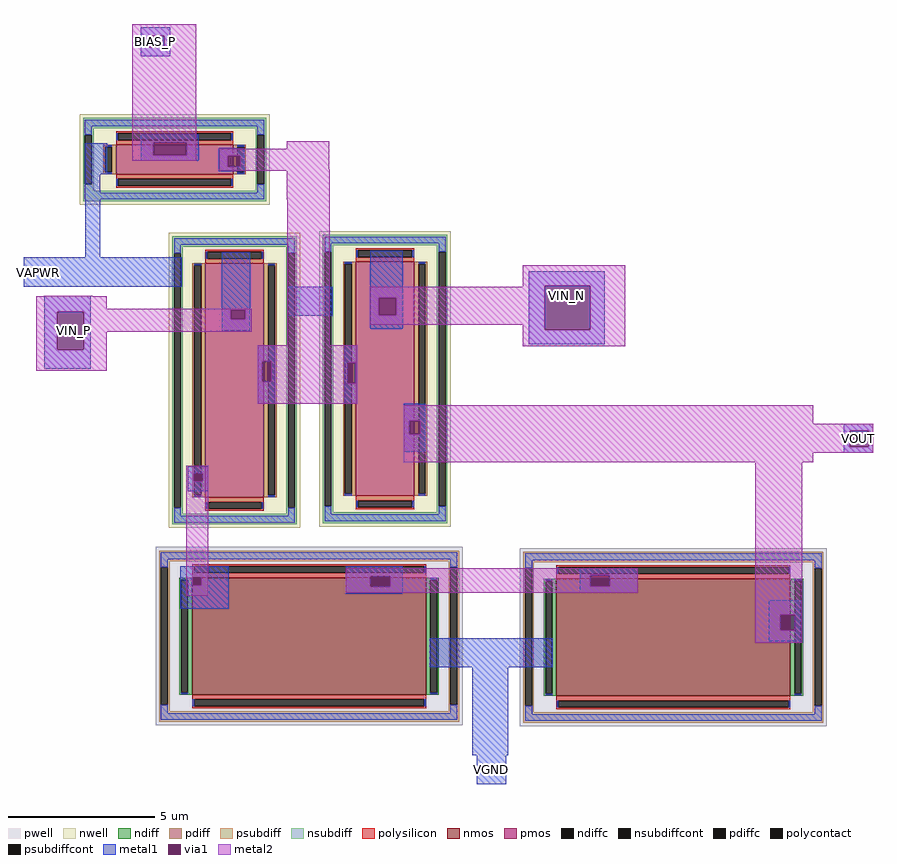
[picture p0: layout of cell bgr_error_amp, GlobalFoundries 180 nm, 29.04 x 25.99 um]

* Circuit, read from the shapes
.subckt bgr_error_amp BIAS_P VAPWR VIN_P VIN_N VOUT VGND
XM1 VGND n1 n1 VGND nfet_03v3 w=4u l=8u
XM2 VOUT n1 VGND VGND nfet_03v3 w=4u l=8u
XM3 n2 BIAS_P VAPWR VAPWR pfet_03v3 w=1u l=4u
XM4 n2 VIN_P n1 VAPWR pfet_03v3 w=8u l=2u
XM5 VOUT VIN_N n2 VAPWR pfet_03v3 w=8u l=2u
.ends

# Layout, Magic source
magic
tech gf180mcuD
magscale 1 10
<< metal1 >>
rect 1799 2517 1999 2575
rect 1799 2438 1854 2517
rect 1961 2438 1999 2517
rect 1799 2375 1999 2438
rect 1798 1789 2194 1844
rect 1420 1570 1570 1780
rect 1798 1699 1884 1789
rect 2113 1699 2194 1789
rect 1798 1662 2194 1699
rect 2333 1696 2505 1747
rect 2333 1622 2392 1696
rect 2478 1622 2505 1696
rect 2333 1589 2505 1622
rect 1420 1000 1520 1570
rect 1000 800 2080 1000
rect 1138 628 1458 738
rect 1138 368 1228 628
rect 1408 368 1458 628
rect 2353 643 2546 1036
rect 2353 579 2413 643
rect 2514 579 2546 643
rect 2800 600 3110 800
rect 3367 723 3592 1047
rect 3367 604 3428 723
rect 3545 604 3592 723
rect 2353 498 2546 579
rect 3367 514 3592 604
rect 4453 807 4973 907
rect 4453 507 4563 807
rect 4873 507 4973 807
rect 4453 407 4973 507
rect 1138 238 1458 368
rect 2600 290 2720 400
rect 2600 150 2630 290
rect 2690 150 2720 290
rect 2600 0 2720 150
rect 3190 280 3280 400
rect 3190 140 3210 280
rect 3270 140 3280 280
rect 3190 0 3280 140
rect 3597 -118 3746 -1
rect 3597 -209 3634 -118
rect 3710 -209 3746 -118
rect 3597 -329 3746 -209
rect 6607 -186 6807 -136
rect 6607 -296 6647 -186
rect 6777 -296 6807 -186
rect 6607 -336 6807 -296
rect 2119 -477 2260 -428
rect 2119 -531 2162 -477
rect 2221 -531 2260 -477
rect 2119 -599 2260 -531
rect 2070 -1186 2400 -1112
rect 2070 -1240 2154 -1186
rect 2213 -1240 2400 -1186
rect 2070 -1401 2400 -1240
rect 3200 -1179 3592 -1110
rect 3200 -1253 3369 -1179
rect 3505 -1253 3592 -1179
rect 3200 -1300 3592 -1253
rect 4801 -1174 5199 -1127
rect 4801 -1248 4872 -1174
rect 5008 -1248 5199 -1174
rect 4801 -1294 5199 -1248
rect 6094 -1442 6324 -1344
rect 6094 -1550 6172 -1442
rect 6272 -1550 6324 -1442
rect 3775 -1802 4615 -1603
rect 6094 -1626 6324 -1550
rect 4065 -2403 4313 -1802
rect 4098 -2601 4298 -2403
<< via1 >>
rect 1854 2438 1961 2517
rect 1884 1699 2113 1789
rect 2392 1622 2478 1696
rect 1228 368 1408 628
rect 2413 579 2514 643
rect 3428 604 3545 723
rect 4563 507 4873 807
rect 2630 150 2690 290
rect 3210 140 3270 280
rect 3634 -209 3710 -118
rect 6647 -296 6777 -186
rect 2162 -531 2221 -477
rect 2154 -1240 2213 -1186
rect 3369 -1253 3505 -1179
rect 4872 -1248 5008 -1174
rect 6172 -1550 6272 -1442
<< metal2 >>
rect 1741 2517 2179 2597
rect 1741 2438 1854 2517
rect 1961 2438 2179 2517
rect 1741 1789 2179 2438
rect 1741 1699 1884 1789
rect 2113 1699 2179 1789
rect 2797 1744 3087 1796
rect 1741 1662 2179 1699
rect 2336 1696 3087 1744
rect 2336 1622 2392 1696
rect 2478 1622 3087 1696
rect 2336 1600 3087 1622
rect 2336 1593 3090 1600
rect 2797 1397 3090 1593
rect 1138 736 1468 738
rect 1083 649 1567 736
rect 1083 643 2557 649
rect 1083 628 2413 643
rect 1083 368 1228 628
rect 1408 579 2413 628
rect 2514 579 2557 643
rect 1408 492 2557 579
rect 1408 368 1567 492
rect 2800 400 3090 1397
rect 4410 807 5114 947
rect 4410 800 4563 807
rect 3365 723 4563 800
rect 3365 604 3428 723
rect 3545 604 4563 723
rect 3365 539 4563 604
rect 4410 507 4563 539
rect 4873 507 5114 807
rect 1083 227 1567 368
rect 2600 290 3280 400
rect 4410 393 5114 507
rect 2600 150 2630 290
rect 2690 280 3280 290
rect 2690 150 3210 280
rect 2600 140 3210 150
rect 3270 140 3280 280
rect 2600 0 3280 140
rect 3599 -118 6398 -10
rect 3599 -209 3634 -118
rect 3710 -136 6398 -118
rect 3710 -186 6807 -136
rect 3710 -209 6647 -186
rect 3599 -296 6647 -209
rect 6777 -296 6807 -186
rect 3599 -336 6807 -296
rect 3599 -400 6398 -336
rect 2110 -477 2260 -426
rect 2110 -531 2162 -477
rect 2221 -531 2260 -477
rect 2110 -1186 2260 -531
rect 2110 -1240 2154 -1186
rect 2213 -1240 2260 -1186
rect 2110 -1315 2260 -1240
rect 3202 -1174 5197 -1127
rect 3202 -1179 4872 -1174
rect 3202 -1253 3369 -1179
rect 3505 -1248 4872 -1179
rect 5008 -1248 5197 -1174
rect 3505 -1253 5197 -1248
rect 3202 -1292 5197 -1253
rect 6001 -1442 6324 -400
rect 6001 -1550 6172 -1442
rect 6272 -1550 6324 -1442
rect 6001 -1635 6324 -1550
use pfet_03v3_KHY8T4  XMDIFF_N
transform -1 0 3470 0 -1 170
box -450 -1010 450 1010
use pfet_03v3_KHY8T4  XMDIFF_P
transform -1 0 2440 0 -1 160
box -450 -1010 450 1010
use nfet_03v3_2876U5  XMLOAD_OUT
transform 1 0 5442 0 1 -1597
box -1050 -610 1050 610
use nfet_03v3_2876U5  XMLOAD_REF
transform 1 0 2950 0 1 -1590
box -1050 -610 1050 610
use pfet_03v3_C49JPW  XMTAIL
transform 1 0 2030 0 1 1670
box -650 -310 650 310
<< labels >>
flabel metal1 1000 800 1200 1000 0 FreeSans 1280 0 0 0 VAPWR
port 1 nsew
flabel metal1 6607 -336 6807 -136 0 FreeSans 1280 0 0 0 VOUT
port 4 nsew
flabel metal1 4098 -2601 4298 -2401 0 FreeSans 1280 0 0 0 VGND
port 5 nsew
flabel metal1 1799 2375 1999 2575 0 FreeSans 1280 0 0 0 BIAS_P
port 0 nsew
flabel metal1 4613 637 4813 837 0 FreeSans 1280 0 0 0 VIN_N
port 3 nsew
flabel metal1 1238 398 1438 598 0 FreeSans 1280 0 0 0 VIN_P
port 2 nsew
<< end >>

# cell pfet_03v3_KHY8T4: kit device pfet_03v3, w 8.0 l 2.0 m 1 nf 1 diffcov 100 polycov 100 guard 1 glc 1 grc 1 gtc 0 gbc 0 tbcov 100 rlcov 100 topc 1 botc 1 poverlap 0 doverlap 1 lmin 0.28 wmin 0.22 class mosfet full_metal 1 compatible {pfet_03v3 pfet_06v0} ad {int((nf+1)/2) * W/nf * 0.18u} as {int((nf+2)/2) * W/nf * 0.18u} pd {2*int((nf+1)/2) * (W/nf + 0.18u)} ps {2*int((nf+2)/2) * (W/nf + 0.18u)} nrd {0.18u / W} nrs {0.18u / W} sa 0 sb 0 sd 0

# cell nfet_03v3_2876U5: kit device nfet_03v3, w 4.0 l 8.0 m 1 nf 1 diffcov 100 polycov 100 guard 1 glc 1 grc 1 gtc 0 gbc 0 tbcov 100 rlcov 100 topc 1 botc 1 poverlap 0 doverlap 1 lmin 0.28 wmin 0.22 class mosfet full_metal 1 compatible {nfet_03v3 nfet_06v0 nfet_06v0_nvt} ad {int((nf+1)/2) * W/nf * 0.18u} as {int((nf+2)/2) * W/nf * 0.18u} pd {2*int((nf+1)/2) * (W/nf + 0.18u)} ps {2*int((nf+2)/2) * (W/nf + 0.18u)} nrd {0.18u / W} nrs {0.18u / W} sa 0 sb 0 sd 0

# cell pfet_03v3_C49JPW: kit device pfet_03v3, w 1.0 l 4.0 m 1 nf 1 diffcov 100 polycov 100 guard 1 glc 1 grc 1 gtc 0 gbc 0 tbcov 100 rlcov 100 topc 1 botc 1 poverlap 0 doverlap 1 lmin 0.28 wmin 0.22 class mosfet full_metal 1 compatible {pfet_03v3 pfet_06v0} ad {int((nf+1)/2) * W/nf * 0.18u} as {int((nf+2)/2) * W/nf * 0.18u} pd {2*int((nf+1)/2) * (W/nf + 0.18u)} ps {2*int((nf+2)/2) * (W/nf + 0.18u)} nrd {0.18u / W} nrs {0.18u / W} sa 0 sb 0 sd 0
